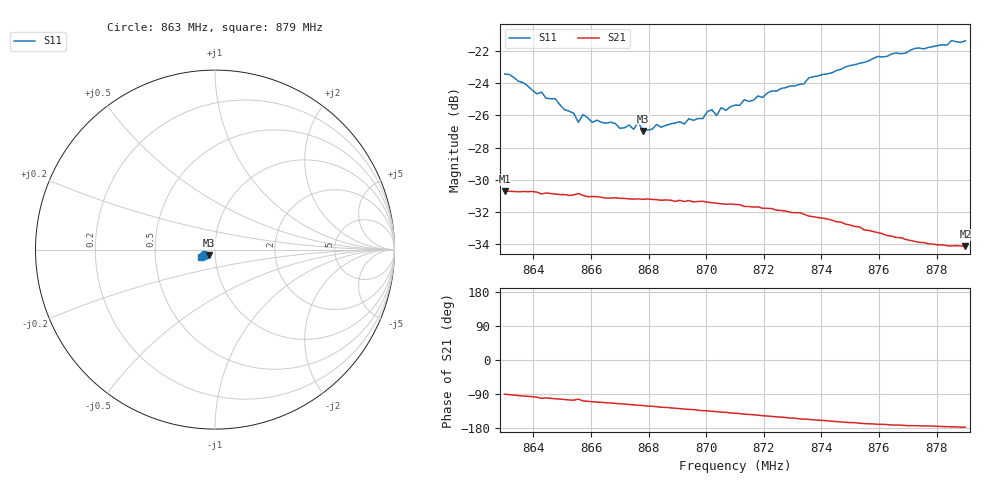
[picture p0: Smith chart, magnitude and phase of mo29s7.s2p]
# HZ S RI R 50
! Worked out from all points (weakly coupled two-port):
!   101 points, 863 MHz to 879 MHz, reference 50 ohm
!   highest |S21| = -30.71 dB at 863 MHz (marker M1); lowest = -34.1 dB at 879 MHz (marker M2)
!   lowest |S11| = -27.0 dB at 867.8 MHz (marker M3), VSWR 1.09, Z = 46.6 - j2.74 ohm
!   |S11| at or under -10 dB: start of sweep to end of sweep
!   S12 and S22 are empty: the file has one direction only
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8.63e8  -0.0614 -0.0275  -5.9e-05 -0.0291  0 0  0 0
8.6412e8  -0.0527 -0.0251  -0.00405 -0.0287  0 0  0 0
8.6476e8  -0.0508 -0.0245  -0.00605 -0.0279  0 0  0 0
8.654e8  -0.0448 -0.0239  -0.00786 -0.0273  0 0  0 0
8.6556e8  -0.0409 -0.0244  -0.00648 -0.0279  0 0  0 0
8.6572e8  -0.0436 -0.0253  -0.00876 -0.0269  0 0  0 0
8.6604e8  -0.0407 -0.0248  -0.00959 -0.0264  0 0  0 0
8.6668e8  -0.0395 -0.0268  -0.011 -0.0255  0 0  0 0
8.67e8  -0.0366 -0.0273  -0.0119 -0.025  0 0  0 0
8.6732e8  -0.0369 -0.0288  -0.0127 -0.0245  0 0  0 0
8.6748e8  -0.0351 -0.0287  -0.0131 -0.0242  0 0  0 0
8.6764e8  -0.0364 -0.031  -0.0135 -0.0241  0 0  0 0
8.678e8  -0.0339 -0.0293  -0.0138 -0.0238  0 0  0 0
8.6844e8  -0.0328 -0.0323  -0.0156 -0.0225  0 0  0 0
8.6988e8  -0.0308 -0.038  -0.0188 -0.0196  0 0  0 0
8.702e8  -0.0333 -0.0401  -0.0191 -0.0188  0 0  0 0
8.7036e8  -0.032 -0.0384  -0.0193 -0.0185  0 0  0 0
8.7052e8  -0.0343 -0.0403  -0.0197 -0.018  0 0  0 0
8.71e8  -0.0333 -0.0424  -0.0204 -0.0169  0 0  0 0
8.7372e8  -0.043 -0.0501  -0.0225 -0.00915  0 0  0 0
8.7644e8  -0.0602 -0.0491  -0.0209 -0.00313  0 0  0 0
8.79e8  -0.0757 -0.0392  -0.0197 -0.00101  0 0  0 0
